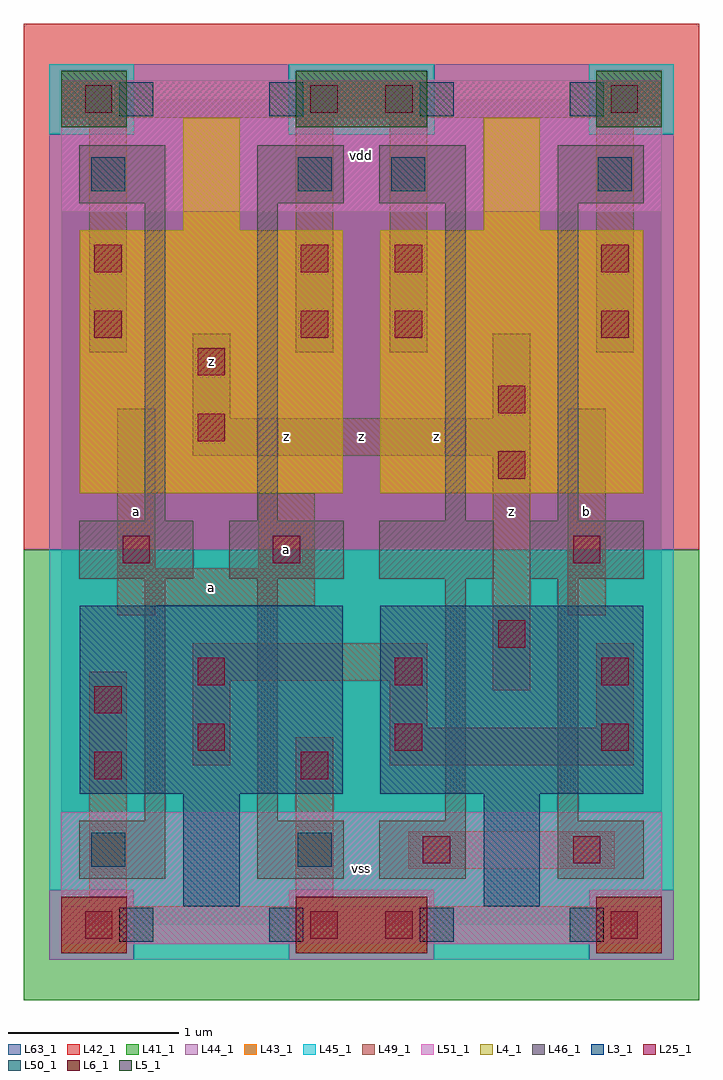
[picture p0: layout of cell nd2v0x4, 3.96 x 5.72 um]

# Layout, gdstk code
import gdstk
lib = gdstk.Library(unit=1e-6, precision=1e-09)
def R(c, l, rs):  # rectangles x0, y0, x1, y1
    for r in rs: c.add(gdstk.rectangle(r[:2], r[2:], *l))
def A(c, l, x, y, w, h, nx, ny, dx, dy):  # array of equal rectangles
    R(c, l, [(x+i*dx, y+j*dy, x+i*dx+w, y+j*dy+h) for i in range(nx) for j in range(ny)])
L3_1 = (3, 1)
L4_1 = (4, 1)
L5_1 = (5, 1)
L6_1 = (6, 1)
L25_1 = (25, 1)
L41_1 = (41, 1)
L42_1 = (42, 1)
L43_1 = (43, 1)
L44_1 = (44, 1)
L45_1 = (45, 1)
L46_1 = (46, 1)
L49_1 = (49, 1)
L50_1 = (50, 1)
L51_1 = (51, 1)
L63_1 = (63, 1)

nd2v0x4 = lib.new_cell('nd2v0x4')
R(nd2v0x4, L3_1, [(0.715,0.11,1.045,0.77), (2.475,0.11,2.805,0.77), (0.11,0.77,1.65,1.87), (1.87,0.77,3.41,1.87)])
R(nd2v0x4, L4_1, [(0.11,2.53,1.65,4.07), (1.87,2.53,3.41,4.07), (0.715,4.07,1.045,4.73), (2.475,4.07,2.805,4.73)])
R(nd2v0x4, L5_1, [(0,4.675,0.385,5.005), (1.375,4.675,2.145,5.005), (3.135,4.675,3.52,5.005)])
R(nd2v0x4, L6_1, [(0,-0.165,0.385,0.165), (1.375,-0.165,2.145,0.165), (3.135,-0.165,3.52,0.165)])
R(nd2v0x4, L25_1, [(0.14,-0.08,0.3,0.08), (1.46,-0.08,1.62,0.08), (1.9,-0.08,2.06,0.08), (3.22,-0.08,3.38,0.08), (2.12,0.36,2.28,0.52), (3,0.36,3.16,0.52), (0.195,0.855,0.355,1.015), (1.405,0.855,1.565,1.015), (0.8,1.02,0.96,1.18), (1.955,1.02,2.115,1.18), (3.165,1.02,3.325,1.18), (0.195,1.24,0.355,1.4), (0.8,1.405,0.96,1.565), (1.955,1.405,2.115,1.565), (3.165,1.405,3.325,1.565), (2.56,1.625,2.72,1.785), (0.36,2.12,0.52,2.28), (1.24,2.12,1.4,2.28), (3,2.12,3.16,2.28), (2.56,2.615,2.72,2.775), (0.8,2.835,0.96,2.995), (2.56,3,2.72,3.16), (0.8,3.22,0.96,3.38), (0.195,3.44,0.355,3.6), (1.405,3.44,1.565,3.6), (1.955,3.44,2.115,3.6), (3.165,3.44,3.325,3.6), (0.195,3.825,0.355,3.985), (1.405,3.825,1.565,3.985), (1.955,3.825,2.115,3.985), (3.165,3.825,3.325,3.985), (0.14,4.76,0.3,4.92), (1.46,4.76,1.62,4.92), (1.9,4.76,2.06,4.92), (3.22,4.76,3.38,4.92)])
R(nd2v0x4, L41_1, [(-0.22,-0.44,3.74,2.2)])
R(nd2v0x4, L42_1, [(-0.22,2.2,3.74,5.28)])
R(nd2v0x4, L43_1, [(0,-0.165,0.385,0.165), (1.375,-0.165,2.145,0.165), (3.135,-0.165,3.52,0.165), (0.715,0.11,1.045,0.77), (2.475,0.11,2.805,0.77), (0.11,0.77,1.65,1.87), (1.87,0.77,3.41,1.87), (0.11,2.53,1.65,4.07), (1.87,2.53,3.41,4.07), (0.715,4.07,1.045,4.73), (2.475,4.07,2.805,4.73), (0,4.675,0.385,5.005), (1.375,4.675,2.145,5.005), (3.135,4.675,3.52,5.005)])
R(nd2v0x4, L44_1, [(-0.07,-0.205,0.425,0.205), (1.335,-0.205,2.185,0.205), (3.095,-0.205,3.59,0.205), (-0.07,2.2,3.59,4.635), (0.425,4.635,1.335,5.045), (2.185,4.635,3.095,5.045)])
R(nd2v0x4, L45_1, [(0.425,-0.205,1.335,0.205), (2.185,-0.205,3.095,0.205), (-0.07,0.205,3.59,2.2), (-0.07,4.635,0.425,5.045), (1.335,4.635,2.185,5.045), (3.095,4.635,3.59,5.045)])
A(nd2v0x4, L46_1, 0.105, 2.03, 0.67, 0.34, 4, 1, 0.88, 0)
R(nd2v0x4, L46_1, [(0.105,0.27,0.61,0.61), (1.15,0.27,1.655,0.61), (1.865,0.27,2.37,0.61), (2.91,0.27,3.415,0.61), (0.49,0.61,0.61,2.03), (1.15,0.61,1.27,2.03), (2.25,0.61,2.37,2.03), (2.91,0.61,3.03,2.03), (0.49,2.37,0.61,4.23), (1.15,2.37,1.27,4.23), (2.25,2.37,2.37,4.23), (2.91,2.37,3.03,4.23), (0.105,4.23,0.61,4.57), (1.15,4.23,1.655,4.57), (1.865,4.23,2.37,4.57), (2.91,4.23,3.415,4.57)])
R(nd2v0x4, L49_1, [(0,-0.11,3.52,0.11), (0.165,0.11,0.385,1.485), (1.375,0.11,1.595,1.1), (2.035,0.33,3.245,0.55), (0.77,0.935,0.99,1.43), (1.925,0.935,3.355,1.155), (1.925,1.155,2.145,1.43), (3.135,1.155,3.355,1.65), (2.53,1.375,2.75,2.75), (0.77,1.43,2.145,1.65), (0.33,1.815,0.55,1.87), (2.97,1.815,3.19,3.025), (0.33,1.87,1.485,2.09), (0.33,2.09,0.55,3.025), (1.155,2.09,1.485,2.53), (0.77,2.75,2.75,2.97), (0.77,2.97,0.99,3.465), (2.53,2.97,2.75,3.465), (0.165,3.355,0.385,4.73), (1.375,3.355,1.595,4.73), (1.925,3.355,2.145,4.73), (3.135,3.355,3.355,4.73), (0,4.73,3.52,4.95)])
A(nd2v0x4, L50_1, 0.34, -0.1, 0.2, 0.2, 4, 2, 0.88, 4.84)
R(nd2v0x4, L50_1, [(0.175,0.34,0.375,0.54), (1.385,0.34,1.585,0.54), (0.175,4.3,0.375,4.5), (1.385,4.3,1.585,4.5), (1.935,4.3,2.135,4.5), (3.145,4.3,3.345,4.5)])
R(nd2v0x4, L51_1, [(0,-0.11,3.52,0.66), (0,4.18,3.52,4.95)])
R(nd2v0x4, L63_1, [(0,0,3.52,4.84)])
nd2v0x4.add(gdstk.Label('a', (0.44,2.42), layer=49, texttype=1))
nd2v0x4.add(gdstk.Label('a', (0.88,1.98), layer=49, texttype=1))
nd2v0x4.add(gdstk.Label('z', (0.88,3.3), layer=49, texttype=1))
nd2v0x4.add(gdstk.Label('a', (1.32,2.2), layer=49, texttype=1))
nd2v0x4.add(gdstk.Label('z', (1.76,2.86), layer=49, texttype=1))
nd2v0x4.add(gdstk.Label('z', (1.32,2.86), layer=49, texttype=1))
nd2v0x4.add(gdstk.Label('z', (2.64,2.42), layer=49, texttype=1))
nd2v0x4.add(gdstk.Label('z', (2.2,2.86), layer=49, texttype=1))
nd2v0x4.add(gdstk.Label('b', (3.08,2.42), layer=49, texttype=1))
nd2v0x4.add(gdstk.Label('vss', (1.76,0.33), layer=51, texttype=1))
nd2v0x4.add(gdstk.Label('vdd', (1.76,4.51), layer=51, texttype=1))

lib.write_gds('nd2v0x4.gds')
